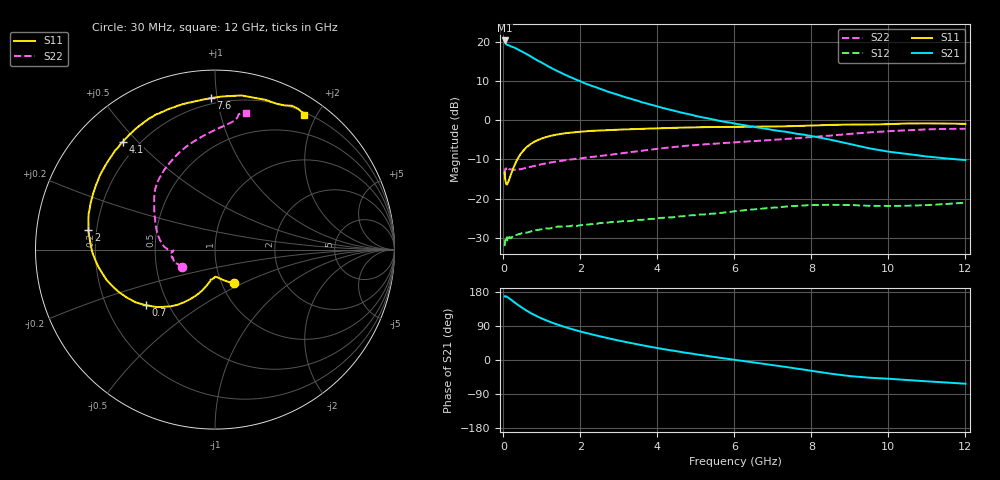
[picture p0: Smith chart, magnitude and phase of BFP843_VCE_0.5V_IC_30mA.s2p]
! Infineon Technologies  Discrete & RF Semiconductors
! BFP843
! VCE =  0.5 V,  IC =  30 mA
! Common Emitter S-Parameters:  Aug 2013
# GHz  S  MA  R  50
!  f  S11  S21  S12  S22
! GHz  MAG  ANG  MAG  ANG  MAG  ANG  MAG  ANG
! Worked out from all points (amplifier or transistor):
!   103 points, 30 MHz to 12 GHz, reference 50 ohm
!   highest |S21| = 20.4 dB at 30 MHz (marker M1)
!   |S21| within 3 dB of that: start of sweep to 514.3 MHz
!   unconditionally stable (mu >= 1): start of sweep to end of sweep
!   at 400 MHz: K = 1.65, MAG = 18.8 dB, |S12| = -29.1 dB
!   at 3.7 GHz: K = 2.06, MAG = 9.0 dB, |S12| = -25.3 dB
!   at 12 GHz: K = 1.89, MAG = 0.0 dB, |S12| = -21.1 dB
!   S11 on the Smith chart (normalised r, x): 30 MHz: 1.14, -0.45; 700 MHz: 0.38, -0.31; 2 GHz: 0.17, +0.08; 4.1 GHz: 0.14, +0.45; 7.6 GHz: 0.16, +0.96; 12 GHz: 0.24, +1.84
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0.03  0.2162 -60.8  10.46 167.5  0.0246 25.0  0.2066 -152.7
0.04  0.1878 -69.9  9.979 167.2  0.0272 23.0  0.2238 -159.2
0.05  0.1705 -77.1  9.73 168.3  0.0295 6.4  0.2406 -162.6
0.07  0.1537 -85.8  9.377 167.7  0.0275 15.5  0.2385 -169.2
0.25  0.2404 -107.6  8.596 154.8  0.0335 13.6  0.2326 -178.2
0.4  0.3414 -120.6  7.914 143.8  0.0351 12.1  0.235 -178.3
0.5  0.4003 -127.9  7.471 136.9  0.0366 13.3  0.24 -178.0
0.7  0.4941 -141.1  6.576 124.4  0.0377 13.6  0.2539 -179.1
0.9  0.5606 -151.7  5.752 113.9  0.0397 12.9  0.268 179.0
1  0.5855 -156.2  5.428 109.4  0.0405 13.1  0.2748 178.0
1.3  0.6432 -168.5  4.493 97.1  0.0427 12.9  0.2926 174.7
1.6  0.6816 -178.2  3.813 86.9  0.0441 11.7  0.3075 171.1
2  0.7138 171.1  3.142 75.2  0.0456 12.2  0.3265 165.9
2.1  0.7195 168.5  2.98 72.5  0.0462 12.5  0.3307 164.8
2.5  0.7398 159.6  2.53 62.6  0.0486 12.5  0.3491 159.8
3.1  0.7624 147.6  2.018 49.1  0.0514 12.1  0.3795 152.0
4.1  0.7906 130.6  1.451 29.8  0.0566 9.8  0.4371 140.8
6.1  0.824 108.7  0.889 -0.9  0.0694 4.7  0.526 122.6
7.6  0.8441 91.6  0.674 -22.4  0.0803 -5.4  0.5886 107.2
8.5  0.8715 80.2  0.563 -36.1  0.0832 -13.6  0.6373 95.9
10.5  0.9091 61.8  0.37 -52.9  0.0809 -22.4  0.7451 80.4
12  0.8989 56.5  0.31 -62.6  0.0884 -28.4  0.7779 77.3
